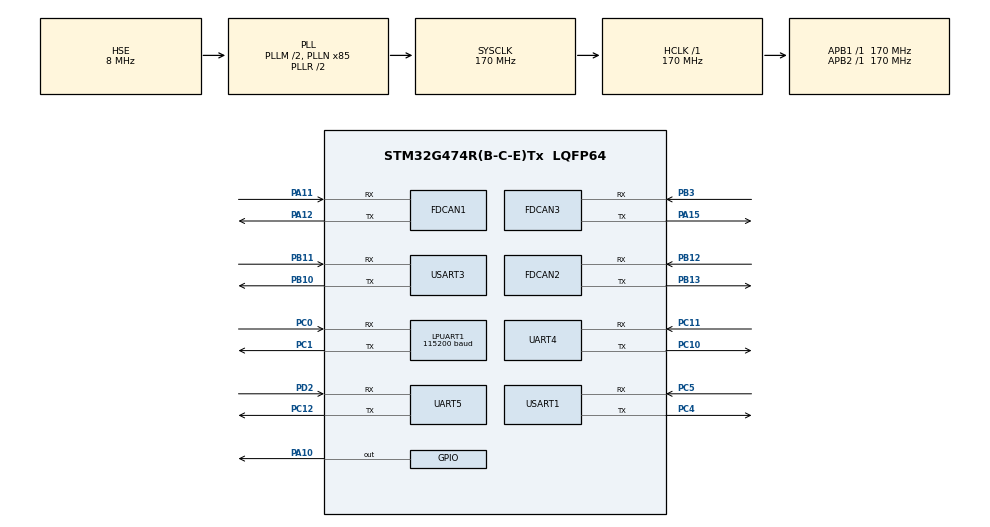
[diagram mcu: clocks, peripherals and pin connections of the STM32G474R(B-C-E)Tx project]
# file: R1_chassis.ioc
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Dma.Request0=UART5_RX
Dma.Request1=UART5_TX
Dma.UART5_RX.0.Direction=DMA_PERIPH_TO_MEMORY
Dma.UART5_RX.0.EventEnable=DISABLE
Dma.UART5_RX.0.Instance=DMA1_Channel1
Dma.UART5_RX.0.MemDataAlignment=DMA_MDATAALIGN_BYTE
Dma.UART5_RX.0.MemInc=DMA_MINC_ENABLE
Dma.UART5_RX.0.Mode=DMA_NORMAL
Dma.UART5_RX.0.PeriphDataAlignment=DMA_PDATAALIGN_BYTE
Dma.UART5_RX.0.PeriphInc=DMA_PINC_DISABLE
Dma.UART5_RX.0.Polarity=HAL_DMAMUX_REQ_GEN_RISING
Dma.UART5_RX.0.Priority=DMA_PRIORITY_LOW
Dma.UART5_RX.0.RequestNumber=1
Dma.UART5_RX.0.SignalID=NONE
Dma.UART5_RX.0.SyncEnable=DISABLE
Dma.UART5_RX.0.SyncPolarity=HAL_DMAMUX_SYNC_NO_EVENT
Dma.UART5_RX.0.SyncRequestNumber=1
Dma.UART5_RX.0.SyncSignalID=NONE
Dma.UART5_TX.1.Direction=DMA_MEMORY_TO_PERIPH
Dma.UART5_TX.1.EventEnable=DISABLE
Dma.UART5_TX.1.Instance=DMA1_Channel2
Dma.UART5_TX.1.MemDataAlignment=DMA_MDATAALIGN_BYTE
Dma.UART5_TX.1.MemInc=DMA_MINC_ENABLE
Dma.UART5_TX.1.Mode=DMA_NORMAL
Dma.UART5_TX.1.PeriphDataAlignment=DMA_PDATAALIGN_BYTE
Dma.UART5_TX.1.PeriphInc=DMA_PINC_DISABLE
Dma.UART5_TX.1.Polarity=HAL_DMAMUX_REQ_GEN_RISING
Dma.UART5_TX.1.Priority=DMA_PRIORITY_LOW
Dma.UART5_TX.1.RequestNumber=1
Dma.UART5_TX.1.SignalID=NONE
Dma.UART5_TX.1.SyncEnable=DISABLE
Dma.UART5_TX.1.SyncPolarity=HAL_DMAMUX_SYNC_NO_EVENT
Dma.UART5_TX.1.SyncRequestNumber=1
Dma.UART5_TX.1.SyncSignalID=NONE
FDCAN1.CalculateBaudRateNominal=1000000
FDCAN1.CalculateTimeBitNominal=1000
FDCAN1.CalculateTimeQuantumNominal=100.0
FDCAN1.DataPrescaler=8
FDCAN1.DataTimeSeg1=10
FDCAN1.DataTimeSeg2=5
FDCAN1.NominalPrescaler=17
FDCAN1.NominalTimeSeg1=6
FDCAN1.NominalTimeSeg2=3
FDCAN2.CalculateBaudRateNominal=1000000
FDCAN2.CalculateTimeBitNominal=1000
FDCAN2.CalculateTimeQuantumNominal=100.0
FDCAN2.DataPrescaler=8
FDCAN2.DataTimeSeg1=10
FDCAN2.DataTimeSeg2=5
FDCAN2.NominalPrescaler=17
FDCAN2.NominalTimeSeg1=6
FDCAN2.NominalTimeSeg2=3
FDCAN3.CalculateBaudRateNominal=999999
FDCAN3.CalculateTimeBitNominal=1000
FDCAN3.CalculateTimeQuantumNominal=58.82352941176471
FDCAN3.DataPrescaler=10
FDCAN3.DataTimeSeg1=12
FDCAN3.DataTimeSeg2=4
FDCAN3.NominalPrescaler=10
FDCAN3.NominalTimeSeg1=12
FDCAN3.NominalTimeSeg2=4
FREERTOS.Queues01=remote_queue,16,UartRxMessage_t,0,Dynamic,NULL,NULL;cha_speedqueue,16,cha_Speed,0,Dynamic,NULL,NULL
FREERTOS.Tasks01=defaultTask,55,128,StartDefaultTask,As weak,NULL,Dynamic,NULL,NULL;Taskcommand,40,128,StartTaskcommand,As weak,NULL,Dynamic,NULL,NULL;cha_control,24,128,StartTask_cha_control,As weak,NULL,Dynamic,NULL,NULL;Dji_ctrl_Task,32,256,Dji_ctrl_Task_Fun,As weak,NULL,Dynamic,NULL,NULL
FREERTOS.configCHECK_FOR_STACK_OVERFLOW=2
FREERTOS.configGENERATE_RUN_TIME_STATS=1
FREERTOS.configRECORD_STACK_HIGH_ADDRESS=1
FREERTOS.configTOTAL_HEAP_SIZE=20000
LPUART1.BaudRate=115200
Mcu.Family=STM32G4
Mcu.Name=STM32G474R(B-C-E)Tx
Mcu.Package=LQFP64
NVIC.DMA1_Channel1_IRQn=true\:5\:0\:false\:false\:true\:true\:false\:true\:true
NVIC.DMA1_Channel2_IRQn=true\:5\:0\:false\:false\:true\:true\:false\:true\:true
NVIC.FDCAN1_IT0_IRQn=true\:5\:0\:false\:false\:true\:true\:true\:true\:true
NVIC.FDCAN1_IT1_IRQn=true\:5\:0\:false\:false\:true\:true\:true\:true\:true
NVIC.FDCAN2_IT0_IRQn=true\:5\:0\:false\:false\:true\:true\:true\:true\:true
NVIC.FDCAN2_IT1_IRQn=true\:5\:0\:false\:false\:true\:true\:true\:true\:true
NVIC.FDCAN3_IT0_IRQn=true\:5\:0\:false\:false\:true\:true\:true\:true\:true
NVIC.FDCAN3_IT1_IRQn=true\:5\:0\:false\:false\:true\:true\:true\:true\:true
NVIC.PriorityGroup=NVIC_PRIORITYGROUP_4
NVIC.TIM1_UP_TIM16_IRQn=true\:15\:0\:false\:false\:true\:false\:false\:true\:true
NVIC.TimeBase=TIM1_UP_TIM16_IRQn
NVIC.TimeBaseIP=TIM1
NVIC.UART4_IRQn=true\:5\:0\:false\:false\:true\:true\:true\:true\:true
NVIC.UART5_IRQn=true\:5\:0\:false\:false\:true\:true\:true\:true\:true
NVIC.USART1_IRQn=true\:5\:0\:false\:false\:true\:true\:true\:true\:true
NVIC.USART3_IRQn=true\:5\:0\:false\:false\:true\:true\:true\:true\:true
PA10.Signal=GPIO_Output
PA11.Mode=FDCAN_Activate
PA11.Signal=FDCAN1_RX
PA12.Mode=FDCAN_Activate
PA12.Signal=FDCAN1_TX
PA13.Mode=Serial_Wire
PA13.Signal=SYS_JTMS-SWDIO
PA14.Mode=Serial_Wire
PA14.Signal=SYS_JTCK-SWCLK
PA15.Mode=FDCAN_Activate
PA15.Signal=FDCAN3_TX
PB10.Mode=Asynchronous
PB10.Signal=USART3_TX
PB11.Mode=Asynchronous
PB11.Signal=USART3_RX
PB12.Mode=FDCAN_Activate
PB12.Signal=FDCAN2_RX
PB13.Mode=FDCAN_Activate
PB13.Signal=FDCAN2_TX
PB3.Mode=FDCAN_Activate
PB3.Signal=FDCAN3_RX
PC0.Mode=Asynchronous
PC0.Signal=LPUART1_RX
PC1.Mode=Asynchronous
PC1.Signal=LPUART1_TX
PC10.Mode=Asynchronous
PC10.Signal=UART4_TX
PC11.Mode=Asynchronous
PC11.Signal=UART4_RX
PC12.Mode=Asynchronous
PC12.Signal=UART5_TX
PC4.Mode=Asynchronous
PC4.Signal=USART1_TX
PC5.Mode=Asynchronous
PC5.Signal=USART1_RX
PD2.Mode=Asynchronous
PD2.Signal=UART5_RX
PF0-OSC_IN.Mode=HSE-External-Oscillator
PF0-OSC_IN.Signal=RCC_OSC_IN
PF1-OSC_OUT.Mode=HSE-External-Oscillator
PF1-OSC_OUT.Signal=RCC_OSC_OUT
ProjectManager.HeapSize=0x200
ProjectManager.StackSize=0x400
ProjectManager.TargetToolchain=CMake
RCC.ADC12Freq_Value=170000000
RCC.ADC345Freq_Value=170000000
RCC.AHBFreq_Value=170000000
RCC.APB1Freq_Value=170000000
RCC.APB1TimFreq_Value=170000000
RCC.APB2Freq_Value=170000000
RCC.APB2TimFreq_Value=170000000
RCC.CortexFreq_Value=170000000
RCC.EXTERNAL_CLOCK_VALUE=12288000
RCC.HCLKFreq_Value=170000000
RCC.HSE_VALUE=8000000
RCC.HSI48_VALUE=48000000
RCC.HSI_VALUE=16000000
RCC.LSE_VALUE=32768
RCC.PLLM=RCC_PLLM_DIV2
RCC.PLLN=85
RCC.PLLSourceVirtual=RCC_PLLSOURCE_HSE
RCC.SYSCLKFreq_VALUE=170000000
RCC.SYSCLKSource=RCC_SYSCLKSOURCE_PLLCLK
RCC.USBFreq_Value=170000000
RCC.VCOOutputFreq_Value=340000000
STMicroelectronics.X-CUBE-ALGOBUILD.1.4.0.LibraryCcDSPOoLibraryJjDSPOoLibrary=true
USART1.VirtualMode-Asynchronous=VM_ASYNC
USART3.VirtualMode-Asynchronous=VM_ASYNC
VP_FREERTOS_VS_CMSIS_V2.Mode=CMSIS_V2
VP_STMicroelectronics.X-CUBE-ALGOBUILD_VS_DSPOoLibraryJjLibrary_1.4.0_1.4.0.Mode=DSPOoLibraryJjLibrary
VP_SYS_VS_DBSignals.Mode=DisableDeadBatterySignals
VP_SYS_VS_tim1.Mode=TIM1
board=custom

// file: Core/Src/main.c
/* USER CODE BEGIN Header */
/**
  ******************************************************************************
  * @file           : main.c
  * @brief          : Main program body
  ******************************************************************************
  * @attention
  *
  * Copyright (c) 2025 STMicroelectronics.
  * All rights reserved.
  *
  * This software is licensed under terms that can be found in the LICENSE file
  * in the root directory of this software component.
  * If no LICENSE file comes with this software, it is provided AS-IS.
  *
  ******************************************************************************
  */
/* USER CODE END Header */
#include "main.h"
#include "cmsis_os.h"
#include "dma.h"
#include "fdcan.h"
#include "usart.h"
#include "gpio.h"

/* USER CODE BEGIN Includes */
#include <stdio.h>
#include "Task_command.h"
#include "pid.h"

/* USER CODE END Includes */

void SystemClock_Config(void);
void MX_FREERTOS_Init(void);

/* USER CODE BEGIN 0 */

// 重定向printf
int __io_putchar(int ch) {
  HAL_UART_Transmit(&huart5, (uint8_t *)&ch, 1, HAL_MAX_DELAY);
  return ch;
}
/* USER CODE END 0 */

int main(void)
{

  /* MCU Configuration--------------------------------------------------------*/

  /* Reset of all peripherals, Initializes the Flash interface and the Systick. */
  HAL_Init();

  /* Configure the system clock */
  SystemClock_Config();

  /* Initialize all configured peripherals */
  MX_GPIO_Init();
  MX_DMA_Init();
  MX_USART1_UART_Init();
  MX_FDCAN1_Init();
  MX_FDCAN2_Init();
  MX_FDCAN3_Init();
  MX_UART4_Init();
  MX_UART5_Init();
  MX_USART3_UART_Init();
  MX_LPUART1_UART_Init();
  /* USER CODE BEGIN 2 */
  // printf("HELLO W");

  Pid_parameter_init();

  /* USER CODE END 2 */

  /* Init scheduler */
  osKernelInitialize();  /* Call init function for freertos objects (in cmsis_os2.c) */
  MX_FREERTOS_Init();

  /* Start scheduler */
  osKernelStart();

  /* We should never get here as control is now taken by the scheduler */

  /* Infinite loop */
  while (1)
  {

  }
}

void SystemClock_Config(void)
{
  RCC_OscInitTypeDef RCC_OscInitStruct = {0};
  RCC_ClkInitTypeDef RCC_ClkInitStruct = {0};

  /** Configure the main internal regulator output voltage
  */
  HAL_PWREx_ControlVoltageScaling(PWR_REGULATOR_VOLTAGE_SCALE1_BOOST);

  /** Initializes the RCC Oscillators according to the specified parameters
  * in the RCC_OscInitTypeDef structure.
  */
  RCC_OscInitStruct.OscillatorType = RCC_OSCILLATORTYPE_HSE;
  RCC_OscInitStruct.HSEState = RCC_HSE_ON;
  RCC_OscInitStruct.PLL.PLLState = RCC_PLL_ON;
  RCC_OscInitStruct.PLL.PLLSource = RCC_PLLSOURCE_HSE;
  RCC_OscInitStruct.PLL.PLLM = RCC_PLLM_DIV2;
  RCC_OscInitStruct.PLL.PLLN = 85;
  RCC_OscInitStruct.PLL.PLLP = RCC_PLLP_DIV2;
  RCC_OscInitStruct.PLL.PLLQ = RCC_PLLQ_DIV2;
  RCC_OscInitStruct.PLL.PLLR = RCC_PLLR_DIV2;
  if (HAL_RCC_OscConfig(&RCC_OscInitStruct) != HAL_OK)
  {
    Error_Handler();
  }

  /** Initializes the CPU, AHB and APB buses clocks
  */
  RCC_ClkInitStruct.ClockType = RCC_CLOCKTYPE_HCLK|RCC_CLOCKTYPE_SYSCLK
                              |RCC_CLOCKTYPE_PCLK1|RCC_CLOCKTYPE_PCLK2;
  RCC_ClkInitStruct.SYSCLKSource = RCC_SYSCLKSOURCE_PLLCLK;
  RCC_ClkInitStruct.AHBCLKDivider = RCC_SYSCLK_DIV1;
  RCC_ClkInitStruct.APB1CLKDivider = RCC_HCLK_DIV1;
  RCC_ClkInitStruct.APB2CLKDivider = RCC_HCLK_DIV1;

  if (HAL_RCC_ClockConfig(&RCC_ClkInitStruct, FLASH_LATENCY_4) != HAL_OK)
  {
    Error_Handler();
  }
}

void HAL_TIM_PeriodElapsedCallback(TIM_HandleTypeDef *htim)
{
  if (htim->Instance == TIM1)
  {
    HAL_IncTick();
  }
}

void Error_Handler(void)
{
  __disable_irq();
  while (1)
  {
  }
}

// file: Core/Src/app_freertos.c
/* USER CODE BEGIN Header */
/**
  ******************************************************************************
  * File Name          : app_freertos.c
  * Description        : Code for freertos applications
  ******************************************************************************
  * @attention
  *
  * Copyright (c) 2025 STMicroelectronics.
  * All rights reserved.
  *
  * This software is licensed under terms that can be found in the LICENSE file
  * in the root directory of this software component.
  * If no LICENSE file comes with this software, it is provided AS-IS.
  *
  ******************************************************************************
  */
/* USER CODE END Header */

#include "FreeRTOS.h"
#include "task.h"
#include "main.h"
#include "cmsis_os.h"

/* USER CODE BEGIN Includes */
#include <stdio.h>
#include "Task_command.h"
#include "Task_default.h"
#include "Task_cha_control.h"
#include "chassis_driver.h"
/* USER CODE END Includes */

/* Definitions for defaultTask */
osThreadId_t defaultTaskHandle;
const osThreadAttr_t defaultTask_attributes = {
  .name = "defaultTask",
  .priority = (osPriority_t) osPriorityRealtime7,
  .stack_size = 128 * 4
};
/* Definitions for Taskcommand */
osThreadId_t TaskcommandHandle;
const osThreadAttr_t Taskcommand_attributes = {
  .name = "Taskcommand",
  .priority = (osPriority_t) osPriorityHigh,
  .stack_size = 128 * 4
};
/* Definitions for cha_control */
osThreadId_t cha_controlHandle;
const osThreadAttr_t cha_control_attributes = {
  .name = "cha_control",
  .priority = (osPriority_t) osPriorityNormal,
  .stack_size = 128 * 4
};
/* Definitions for Dji_ctrl_Task */
osThreadId_t Dji_ctrl_TaskHandle;
const osThreadAttr_t Dji_ctrl_Task_attributes = {
  .name = "Dji_ctrl_Task",
  .priority = (osPriority_t) osPriorityAboveNormal,
  .stack_size = 256 * 4
};
/* Definitions for remote_queue */
osMessageQueueId_t remote_queueHandle;
const osMessageQueueAttr_t remote_queue_attributes = {
  .name = "remote_queue"
};
/* Definitions for cha_speedqueue */
osMessageQueueId_t cha_speedqueueHandle;
const osMessageQueueAttr_t cha_speedqueue_attributes = {
  .name = "cha_speedqueue"
};

void StartDefaultTask(void *argument);
void StartTaskcommand(void *argument);
void StartTask_cha_control(void *argument);
void Dji_ctrl_Task_Fun(void *argument);

void MX_FREERTOS_Init(void); /* (MISRA C 2004 rule 8.1) */

/* Hook prototypes */
void configureTimerForRunTimeStats(void);
unsigned long getRunTimeCounterValue(void);
void vApplicationStackOverflowHook(xTaskHandle xTask, signed char *pcTaskName);

/* USER CODE BEGIN 1 */
/* Functions needed when configGENERATE_RUN_TIME_STATS is on */
__weak void configureTimerForRunTimeStats(void)
{

}

__weak unsigned long getRunTimeCounterValue(void)
{
return 0;
}
/* USER CODE END 1 */

/* USER CODE BEGIN 4 */
void vApplicationStackOverflowHook(xTaskHandle xTask, signed char *pcTaskName)
{
   /* Run time stack overflow checking is performed if
   configCHECK_FOR_STACK_OVERFLOW is defined to 1 or 2. This hook function is
   called if a stack overflow is detected. */
}
/* USER CODE END 4 */

void MX_FREERTOS_Init(void) {

  /* Create the queue(s) */
  /* creation of remote_queue */
  remote_queueHandle = osMessageQueueNew (16, sizeof(UartRxMessage_t), &remote_queue_attributes);

  /* creation of cha_speedqueue */
  cha_speedqueueHandle = osMessageQueueNew (16, sizeof(cha_Speed), &cha_speedqueue_attributes);

  /* Create the thread(s) */
  /* creation of defaultTask */
  defaultTaskHandle = osThreadNew(StartDefaultTask, NULL, &defaultTask_attributes);

  /* creation of Taskcommand */
  TaskcommandHandle = osThreadNew(StartTaskcommand, NULL, &Taskcommand_attributes);

  /* creation of cha_control */
  cha_controlHandle = osThreadNew(StartTask_cha_control, NULL, &cha_control_attributes);

  /* creation of Dji_ctrl_Task */
  Dji_ctrl_TaskHandle = osThreadNew(Dji_ctrl_Task_Fun, NULL, &Dji_ctrl_Task_attributes);

}

__weak void StartDefaultTask(void *argument)
{
  /* USER CODE BEGIN StartDefaultTask */
  osThreadTerminate(defaultTaskHandle);
  /* Infinite loop */
  for(;;)
  {

    osDelay(500);
  }
  /* USER CODE END StartDefaultTask */
}

__weak void StartTaskcommand(void *argument)
{
  /* USER CODE BEGIN StartTaskcommand */
  /* Infinite loop */
  for(;;)
  {HAL_GPIO_TogglePin(GPIOA,GPIO_PIN_10);
    osDelay(1000);
  }
  /* USER CODE END StartTaskcommand */
}

__weak void StartTask_cha_control(void *argument)
{
  for(;;)
  {
    osDelay(1);
  }
}

__weak void Dji_ctrl_Task_Fun(void *argument)
{
  for(;;)
  {
    osDelay(1);
  }
}
